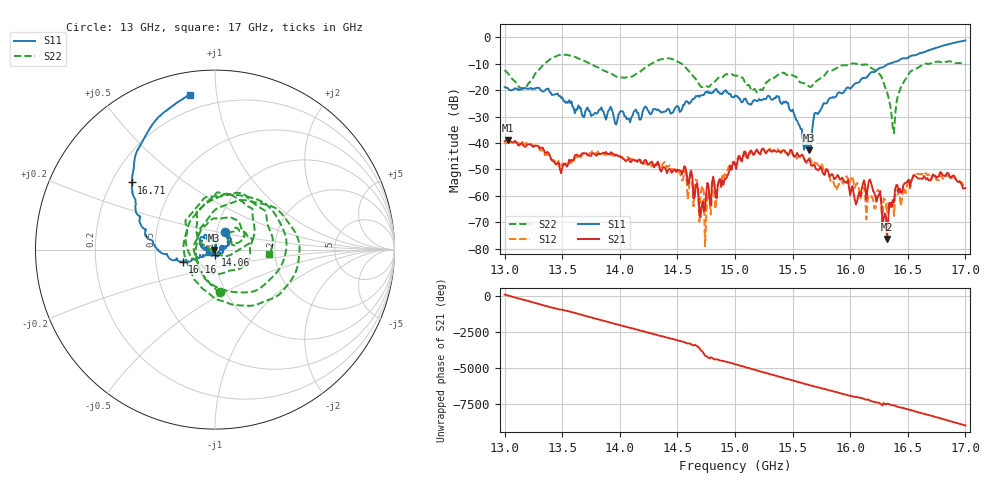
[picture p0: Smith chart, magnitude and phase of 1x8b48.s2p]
!Keysight Technologies,P9374A,MY57211807,A.19.30.04
!Date: Friday, May 08, 2026 14:28:59
!Correction: S11(C  2-Port  )
!S21(C  2-Port  )
!S12(C  2-Port  )
!S22(C  2-Port  )
!S2P File: Measurements: S11, S21, S12, S22:
# Hz S  dB  R 50
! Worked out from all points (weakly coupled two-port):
!   401 points, 13 GHz to 17 GHz, reference 50 ohm
!   highest |S21| = -38.88 dB at 13.03 GHz (marker M1); lowest = -76.3 dB at 16.32 GHz (marker M2)
!   lowest |S11| = -42.7 dB at 15.64 GHz (marker M3), VSWR 1.01, Z = 49.3 - j0.136 ohm
!   |S11| at or under -10 dB: start of sweep to 16.34 GHz
!   |S22| runs from -36.3 to -6.5 dB; largest |S21 - S12| = 0.0015
!   S11 on the Smith chart (normalised r, x): 13 GHz: 1.10, +0.22; 14.06 GHz: 1.00, -0.06; 16.16 GHz: 0.69, -0.09; 16.71 GHz: 0.28, +0.33; 17 GHz: 0.12, +0.84
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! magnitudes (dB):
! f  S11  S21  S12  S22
! 13 GHz  -18.9  -39.3  -40.3  -12.4
! 13.03 GHz  -19.3  -38.9  -39.6  -13.7
! 13.16 GHz  -19.4  -40.8  -39.9  -19.4
! 13.49 GHz  -22.9  -51.4  -49.3  -6.5
! 13.67 GHz  -29.1  -44.0  -44.8  -8.4
! 14.06 GHz  -30.9  -46.6  -45.5  -15.1
! 14.34 GHz  -27.7  -48.6  -47.8  -8.5
! 14.56 GHz  -25.5  -48.8  -50.4  -10.8
! 14.71 GHz  -21.9  -64.0  -56.9  -18.8
! 14.76 GHz  -20.4  -55.1  -58.8  -18.6
! 15 GHz  -22.0  -48.0  -48.3  -14.5
! 15.44 GHz  -24.2  -43.4  -43.8  -13.9
! 15.64 GHz  -42.7  -46.1  -46.2  -18.5
! 15.67 GHz  -35.1  -48.6  -47.5  -18.3
! 16.05 GHz  -17.3  -63.2  -55.7  -10.0
! 16.16 GHz  -14.3  -54.7  -59.9  -10.8
! 16.32 GHz  -10.4  -76.3  -66.6  -20.8
! 16.34 GHz  -10.0  -62.8  -64.6  -24.2
! 16.38 GHz  -9.3  -62.4  -67.6  -36.3
! 16.5 GHz  -7.8  -54.1  -55.1  -14.5
! 16.71 GHz  -4.5  -52.6  -53.2  -9.6
! 17 GHz  -1.2  -57.0  -56.8  -10.4
